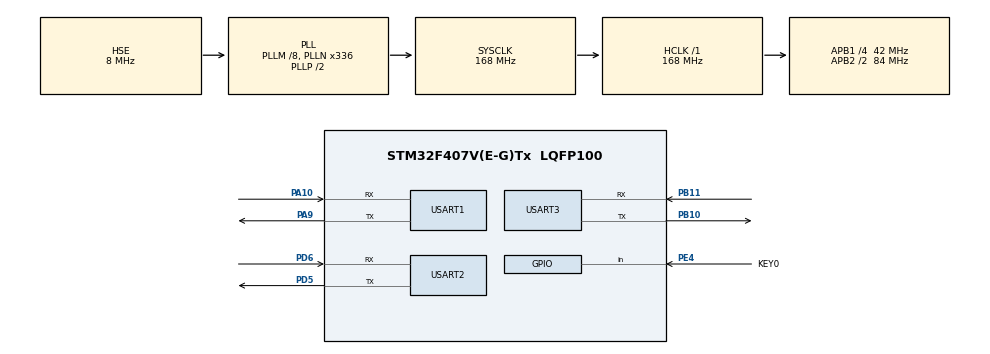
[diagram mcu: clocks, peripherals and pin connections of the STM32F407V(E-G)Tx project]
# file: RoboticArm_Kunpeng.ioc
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FREERTOS.Tasks01=defaultTask,24,128,StartDefaultTask,Default,NULL,Dynamic,NULL,NULL
Mcu.Family=STM32F4
Mcu.Name=STM32F407V(E-G)Tx
Mcu.Package=LQFP100
NVIC.PriorityGroup=NVIC_PRIORITYGROUP_4
NVIC.TIM6_DAC_IRQn=true\:15\:0\:false\:false\:true\:false\:false\:true\:true
NVIC.TimeBase=TIM6_DAC_IRQn
NVIC.TimeBaseIP=TIM6
PA10.Mode=Asynchronous
PA10.Signal=USART1_RX
PA13.Mode=Serial_Wire
PA13.Signal=SYS_JTMS-SWDIO
PA14.Mode=Serial_Wire
PA14.Signal=SYS_JTCK-SWCLK
PA9.Mode=Asynchronous
PA9.Signal=USART1_TX
PB10.Mode=Asynchronous
PB10.Signal=USART3_TX
PB11.Mode=Asynchronous
PB11.Signal=USART3_RX
PD5.Mode=Asynchronous
PD5.Signal=USART2_TX
PD6.Mode=Asynchronous
PD6.Signal=USART2_RX
PE4.GPIO_Label=KEY0
PE4.GPIO_PuPd=GPIO_PULLUP
PE4.Signal=GPIO_Input
PH0-OSC_IN.Mode=HSE-External-Oscillator
PH0-OSC_IN.Signal=RCC_OSC_IN
PH1-OSC_OUT.Mode=HSE-External-Oscillator
PH1-OSC_OUT.Signal=RCC_OSC_OUT
ProjectManager.HeapSize=0x200
ProjectManager.StackSize=0x400
ProjectManager.TargetToolchain=MDK-ARM V5
RCC.48MHZClocksFreq_Value=84000000
RCC.AHBFreq_Value=168000000
RCC.APB1CLKDivider=RCC_HCLK_DIV4
RCC.APB1Freq_Value=42000000
RCC.APB1TimFreq_Value=84000000
RCC.APB2CLKDivider=RCC_HCLK_DIV2
RCC.APB2Freq_Value=84000000
RCC.APB2TimFreq_Value=168000000
RCC.CortexFreq_Value=168000000
RCC.HCLKFreq_Value=168000000
RCC.HSE_VALUE=8000000
RCC.HSI_VALUE=16000000
RCC.LSE_VALUE=32768
RCC.PLLM=8
RCC.PLLN=336
RCC.PLLSourceVirtual=RCC_PLLSOURCE_HSE
RCC.SYSCLKFreq_VALUE=168000000
RCC.SYSCLKSource=RCC_SYSCLKSOURCE_PLLCLK
RCC.VCOOutputFreq_Value=336000000
USART1.VirtualMode=VM_ASYNC
USART2.VirtualMode=VM_ASYNC
USART3.VirtualMode=VM_ASYNC
VP_FREERTOS_VS_CMSIS_V2.Mode=CMSIS_V2
VP_SYS_VS_tim6.Mode=TIM6
board=custom

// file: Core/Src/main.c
/* USER CODE BEGIN Header */
/**
  ******************************************************************************
  * @file           : main.c
  * @brief          : STM32F407 底盘 + 机械臂（2×TB6612 + 4×JGB37-520 麦轮 / 六轴总线舵机）
  *                   两路 UART 指令协议（USART1 PC / USART2 蓝牙）+ USART3 总线舵机（PB10/PB11）
  ******************************************************************************
  */
/* USER CODE END Header */
#include "main.h"
#include "cmsis_os.h"
#include "usart.h"
#include "gpio.h"

/* USER CODE BEGIN Includes */
#include "uart_protocol.h"
#include "bt.h"
#include "arm_robot.h"
#include <stdio.h>
#include <string.h>
/* USER CODE END Includes */

/* USER CODE BEGIN PV */
/* 注：原主循环的运动/打印任务及共用状态变量已迁移到 freertos.c 的各任务中。
 * 这里保留初始化相关量（如果需要）。 */
/* USER CODE END PV */

void SystemClock_Config(void);
void MX_FREERTOS_Init(void);

int main(void)
{

  /* MCU Configuration--------------------------------------------------------*/

  /* Reset of all peripherals, Initializes the Flash interface and the Systick. */
  HAL_Init();

  /* Configure the system clock */
  SystemClock_Config();

  /* Initialize all configured peripherals */
  MX_GPIO_Init();
  MX_USART1_UART_Init();
  MX_USART2_UART_Init();
  MX_USART3_UART_Init();          /* PB10/PB11：机械臂总线舵机专用（由 ARM_Init 绑定） */
  /* USER CODE BEGIN 2 */
  /* UART 指令协议：只注册两路控制源（USART1=PC/OrangePi，USART2=蓝牙）。
   * USART3 已从第三控制源改为总线舵机专用，不再进协议栈。 */
  UartProto_Init(&huart1);
  BT_Init(&huart2);

  /* 机械臂控制层：绑定 huart3、装载六轴零位（不在此处动舵机，动作由 ArmTask 执行） */
  ARM_Init();

  printf("Chassis ready. (2xTB6612 + 4xJGB37-520 + 80mm mecanum)\r\n");
  printf("Protocol: $CMD*ck\\r\\n (PING/LOG/CAR:VEL/STOP/ODOM/RESET/RAW/WHEEL/ENC/GAIN/CLRFAULT)\r\n");
  printf("Arm:      $ARM,POS/J/HOME/STOP/RESUME/READ/TEMP/VIN/CLRFAULT*ck  (bus servo on USART3)\r\n");

  /* 注：此后交由 FreeRTOS 调度器接管。
   * 底盘任务 / 协议任务 / 打印任务 见 freertos.c。 */
  /* USER CODE END 2 */

  /* Init scheduler */
  osKernelInitialize();  /* Call init function for freertos objects (in cmsis_os2.c) */
  MX_FREERTOS_Init();

  /* Start scheduler */
  osKernelStart();

  /* We should never get here as control is now taken by the scheduler */

  /* Infinite loop */
  while (1)
  {

    /* USER CODE BEGIN 3 */
    /* 控制已移交 FreeRTOS 调度器（osKernelStart 后永不返回），
     * 主循环仅作空转占位。具体任务见 freertos.c：
     *   - StartProtocolTask   串口协议响应
     *   - StartPrintTask   周期状态打印
     *   - StartChassisTask   底盘 20ms 控制 */
  }
  /* USER CODE END 3 */
}

void SystemClock_Config(void)
{
  RCC_OscInitTypeDef RCC_OscInitStruct = {0};
  RCC_ClkInitTypeDef RCC_ClkInitStruct = {0};

  /** Configure the main internal regulator output voltage
  */
  __HAL_RCC_PWR_CLK_ENABLE();
  __HAL_PWR_VOLTAGESCALING_CONFIG(PWR_REGULATOR_VOLTAGE_SCALE1);

  /** Initializes the RCC Oscillators according to the specified parameters
  * in the RCC_OscInitTypeDef structure.
  */
  RCC_OscInitStruct.OscillatorType = RCC_OSCILLATORTYPE_HSE;
  RCC_OscInitStruct.HSEState = RCC_HSE_ON;
  RCC_OscInitStruct.PLL.PLLState = RCC_PLL_ON;
  RCC_OscInitStruct.PLL.PLLSource = RCC_PLLSOURCE_HSE;
  RCC_OscInitStruct.PLL.PLLM = 8;
  RCC_OscInitStruct.PLL.PLLN = 336;
  RCC_OscInitStruct.PLL.PLLP = RCC_PLLP_DIV2;
  RCC_OscInitStruct.PLL.PLLQ = 4;
  if (HAL_RCC_OscConfig(&RCC_OscInitStruct) != HAL_OK)
  {
    Error_Handler();
  }

  /** Initializes the CPU, AHB and APB buses clocks
  */
  RCC_ClkInitStruct.ClockType = RCC_CLOCKTYPE_HCLK|RCC_CLOCKTYPE_SYSCLK
                              |RCC_CLOCKTYPE_PCLK1|RCC_CLOCKTYPE_PCLK2;
  RCC_ClkInitStruct.SYSCLKSource = RCC_SYSCLKSOURCE_PLLCLK;
  RCC_ClkInitStruct.AHBCLKDivider = RCC_SYSCLK_DIV1;
  RCC_ClkInitStruct.APB1CLKDivider = RCC_HCLK_DIV4;
  RCC_ClkInitStruct.APB2CLKDivider = RCC_HCLK_DIV2;

  if (HAL_RCC_ClockConfig(&RCC_ClkInitStruct, FLASH_LATENCY_5) != HAL_OK)
  {
    Error_Handler();
  }
}

/* USER CODE BEGIN 4 */
//printf输出重定向
int fputc(int ch, FILE *f)
{
    HAL_UART_Transmit(
        &huart1,
        (uint8_t *)&ch,
        1,
        HAL_MAX_DELAY
    );
    return ch;
}
/* USER CODE END 4 */

void HAL_TIM_PeriodElapsedCallback(TIM_HandleTypeDef *htim)
{
  if (htim->Instance == TIM6)
  {
    HAL_IncTick();
  }
}

void Error_Handler(void)
{
  __disable_irq();
  while (1)
  {
  }
}

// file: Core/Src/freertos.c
/* USER CODE BEGIN Header */
/**
  ******************************************************************************
  * File Name          : freertos.c
  * Description        : Code for freertos applications
  ******************************************************************************
  * @attention
  *
  * Copyright (c) 2026 STMicroelectronics.
  * All rights reserved.
  *
  * This software is licensed under terms that can be found in the LICENSE file
  * in the root directory of this software component.
  * If no LICENSE file comes with this software, it is provided AS-IS.
  *
  ******************************************************************************
  */
/* USER CODE END Header */

#include "FreeRTOS.h"
#include "task.h"
#include "main.h"
#include "cmsis_os.h"

/* USER CODE BEGIN Includes */
#include "uart_protocol.h"
#include "bt.h"
#include "chassis.h"
#include "arm_robot.h"
#include <stdio.h>
#include <string.h>

/*
 * 特别注意：本文件里"任务相关的一切"（句柄、属性、创建、函数定义）都放在
 * USER CODE 保护块内。因为这些任务没有登记到 .ioc（只有 CubeMX 模板自带的
 * defaultTask 在 .ioc 里），若放在保护块外，重新生成时会被 CubeMX 当成未知
 * 内容删除。放在保护块内则 CubeMX 永远不会触碰。以后每次重新生成都安全。
 */
/* USER CODE END Includes */

/* USER CODE BEGIN Variables */
/* huart1 访问互斥（print_lock）：
 * - PrintTask 的周期状态打印（printf 走 huart1）；
 * - ProtocolTask 发回 PC 的协议响应帧（目标为 USART1 时）。
 * 二者互斥，保证 PC 串口上响应帧与打印消息不会按字符交错。 */
osMutexId_t print_lock;
const osMutexAttr_t print_mutex_attributes = {
  .name = "printLock"
};

/* 总线舵机 UART3 互斥锁：ArmTask（运动/轮询）与 ProtocolTask（$ARM,STOP/RESUME/READ/TEMP/VIN）
 * 都会阻塞收发 USART3，必须串行化，否则急停帧可能撞上 HAL_BUSY 被静默丢弃。
 * 在 MX_FREERTOS_Init 里 osMutexNew 后通过 SB_SetBusLock 注入 servo_bus。 */
osMutexId_t arm_bus_lock;
const osMutexAttr_t arm_bus_lock_attributes = {
  .name = "armBusLock"
};

/* ---- 任务的句柄与属性（全在 USER CODE 内，重新生成被保留） ---- */
osThreadId_t ProtocolTaskHandle;
const osThreadAttr_t ProtocolTask_attributes = {
  .name = "ProtocolTask",
  .stack_size = 512 * 4,
  .priority = (osPriority_t) osPriorityNormal,
};

osThreadId_t PrintTaskHandle;
const osThreadAttr_t PrintTask_attributes = {
  .name = "PrintTask",
  .stack_size = 512 * 4,
  .priority = (osPriority_t) osPriorityLow,
};

/* 底盘任务（2×TB6612 + JGB37-520 1:90 四路编码器 + 80mm 麦轮）：
 * 20ms 标称一次，实际 dt 由 CHS_Tick 用 HAL tick 测量。
 * 与 ProtocolTask 同级，靠时间片轮转，互不饿死。 */
osThreadId_t ChassisTaskHandle;
const osThreadAttr_t ChassisTask_attributes = {
  .name = "ChassisTask",
  .stack_size = 512 * 4,
  .priority = (osPriority_t) osPriorityNormal,
};

/* 机械臂任务（六轴总线舵机 on USART3）：10ms 一拍，兼做「执行作业 + 温度/位置/电压轮询」。
 * 优先级刻意低于底盘任务：本任务有阻塞式舵机收发（一轮轮询 25~35ms，
 * J5 背隙补偿两段式可达 1s 以上），绝不能让 20ms 的底盘节拍给它让路。
 * 反过来，$ARM,POS/J/HOME 在协议任务里只投递作业、不碰 UART，所以底盘 500ms 心跳
 * 不会被机械臂拖停；$ARM,STOP/RESUME/READ/TEMP/VIN 虽在协议任务里短阻塞（≤约 50ms），
 * 但与 ArmTask 靠 arm_bus_lock 串行化，不会丢帧。 */
osThreadId_t ArmTaskHandle;
const osThreadAttr_t ArmTask_attributes = {
  .name = "ArmTask",
  .stack_size = 512 * 4,
  .priority = (osPriority_t) osPriorityBelowNormal,
};
/* USER CODE END Variables */
/* Definitions for defaultTask */
osThreadId_t defaultTaskHandle;
const osThreadAttr_t defaultTask_attributes = {
  .name = "defaultTask",
  .stack_size = 128 * 4,
  .priority = (osPriority_t) osPriorityNormal,
};

/* USER CODE BEGIN FunctionPrototypes */
void StartProtocolTask(void *argument);
void StartPrintTask(void *argument);
void StartChassisTask(void *argument);
void StartArmTask(void *argument);
/* USER CODE END FunctionPrototypes */

void StartDefaultTask(void *argument);

void MX_FREERTOS_Init(void); /* (MISRA C 2004 rule 8.1) */

void MX_FREERTOS_Init(void) {

  /* USER CODE BEGIN RTOS_MUTEX */
  /* add mutexes, ... */
  print_lock = osMutexNew(&print_mutex_attributes);
  arm_bus_lock = osMutexNew(&arm_bus_lock_attributes);
  SB_SetBusLock(arm_bus_lock);      /* 注入总线互斥锁，之后 ArmTask/ProtocolTask 才并发收发 USART3 */
  /* USER CODE END RTOS_MUTEX */

  /* Create the thread(s) */
  /* creation of defaultTask */
  defaultTaskHandle = osThreadNew(StartDefaultTask, NULL, &defaultTask_attributes);

  /* USER CODE BEGIN RTOS_THREADS */
  /* add threads, ... */
  ProtocolTaskHandle = osThreadNew(StartProtocolTask, NULL, &ProtocolTask_attributes);
  PrintTaskHandle   = osThreadNew(StartPrintTask,   NULL, &PrintTask_attributes);
  ChassisTaskHandle = osThreadNew(StartChassisTask, NULL, &ChassisTask_attributes);
  ArmTaskHandle     = osThreadNew(StartArmTask,     NULL, &ArmTask_attributes);
  /* USER CODE END RTOS_THREADS */

}

void StartDefaultTask(void *argument)
{
  for(;;)
  {
    osDelay(1);
  }
}

/* USER CODE BEGIN Application */

/**
  * @brief  串口协议后台任务：解析命令帧、发送待发响应、重启串口接收。必须高频运行：
  *         中断只收字节入队，命令解析/执行与发送（三路串口同一套逻辑，无模块专用分支）
  *         全部在本任务完成；发回 huart1 的响应与 printf 共用 print_lock 互斥。
  * @param  argument: Not used
  */
void StartProtocolTask(void *argument)
{
  for(;;)
  {
    UartProto_Process();
    osDelay(5);
  }
}

/**
  * @brief  周期遥测打印任务：每 3000ms 输出一次底盘状态（可用 $LOG,1/$LOG,0 开关）。
  *         持 print_lock 打印，避免与 ProtocolTask 响应帧交错。
  * @param  argument: Not used
  */
void StartPrintTask(void *argument)
{
  for(;;)
  {
    osDelay(3000);
    if (UartProto_GetStreamLog())
    {
      float x, y, yaw;

      CHS_GetOdometry(&g_chassis, &x, &y, &yaw);

      osMutexAcquire(print_lock, osWaitForever);
      printf("CHS odom %ldmm %ldmm %lddeg online=%u\r\n",
             (long)x, (long)y, (long)yaw, (unsigned)g_chassis.online);
      osMutexRelease(print_lock);
    }
  }
}

 /**
  * @brief  底盘任务：初始化 2×TB6612 + 4 路定时器编码器，然后 20ms 固定周期跑 CHS_Tick。
  *         初始化只依赖本板定时器/GPIO（纯 GPIO/定时器配置，无总线从机握手），所以不做重试：
  *         失败基本是时钟/引脚配置问题，重试也不会变好；打印一次后原地待机，
  *         其它任务（协议/打印）照常跑。
  * @param  argument: Not used
  */
void StartChassisTask(void *argument)
{
  uint32_t next_tick;

  if (CHS_Init(&g_chassis) != CHS_OK)
  {
    osMutexAcquire(print_lock, osWaitForever);
    printf("CHS: init FAIL (check TIM4 PD12~PD15 / TIM1,2,3,8 encoder pins)\r\n");
    osMutexRelease(print_lock);

    for (;;)
    {
      osDelay(1000);
    }
  }

  next_tick = osKernelGetTickCount();   /* 以初始化完成为节拍基准 */

  osMutexAcquire(print_lock, osWaitForever);
  printf("CHS: init OK (2xTB6612, TIM4 20kHz, 4xENC, JGB37-520 1:90)\r\n");
  osMutexRelease(print_lock);

#if CHS_SELFTEST_EN
  (void)CHS_SelfTest(&g_chassis);         /* ⚠️ 轮子必须悬空 */
  next_tick = osKernelGetTickCount();     /* 自检阻塞约 4.8s，节拍基准重新对齐 */
#endif

  for (;;)
  {
    /* 严格 20ms 节拍：读 4 路编码器 + 测速/PID/保护/下发，
       用绝对 tick 递增，不用 osDelay，避免长时间运行累积漂移 */
    CHS_Tick(&g_chassis);

    next_tick += (CHS_PERIOD_MS / portTICK_PERIOD_MS);

    /* 如果这一拍被高优先级任务拖过了整整一个周期，不要把欠下的拍子一次性补跑：
       补跑时编码器增量很小，但 CHS_Tick 仍按固定 20ms 解释 ⇒ 速度被算小、PID 抖。
       直接把节拍基准拉到「当前 + 1 拍」，宁可丢一拍，也不制造假速度。 */
    if ((int32_t)(osKernelGetTickCount() - next_tick) >
        (int32_t)(CHS_PERIOD_MS / portTICK_PERIOD_MS))
    {
      next_tick = osKernelGetTickCount() + (CHS_PERIOD_MS / portTICK_PERIOD_MS);
    }

    (void)osDelayUntil(next_tick);
  }
}

/**
  * @brief  机械臂任务：10ms 一拍。
  *         ① 先执行 $ARM,POS/J/HOME 投递下来的作业（阻塞到动作下发完或 J5 补偿走完）；
  *         ② 再做一拍 SB_Tick10ms 轮询（位置 1s、电压 5s、温度状态机）。
  *         ARM_Init() 已在调度器启动前由 main 调过，这里不再重复初始化。
  * @param  argument: Not used
  */
void StartArmTask(void *argument)
{
  for (;;)
  {
    ARM_TaskTick();
    osDelay(10);
  }
}

/* USER CODE END Application */
